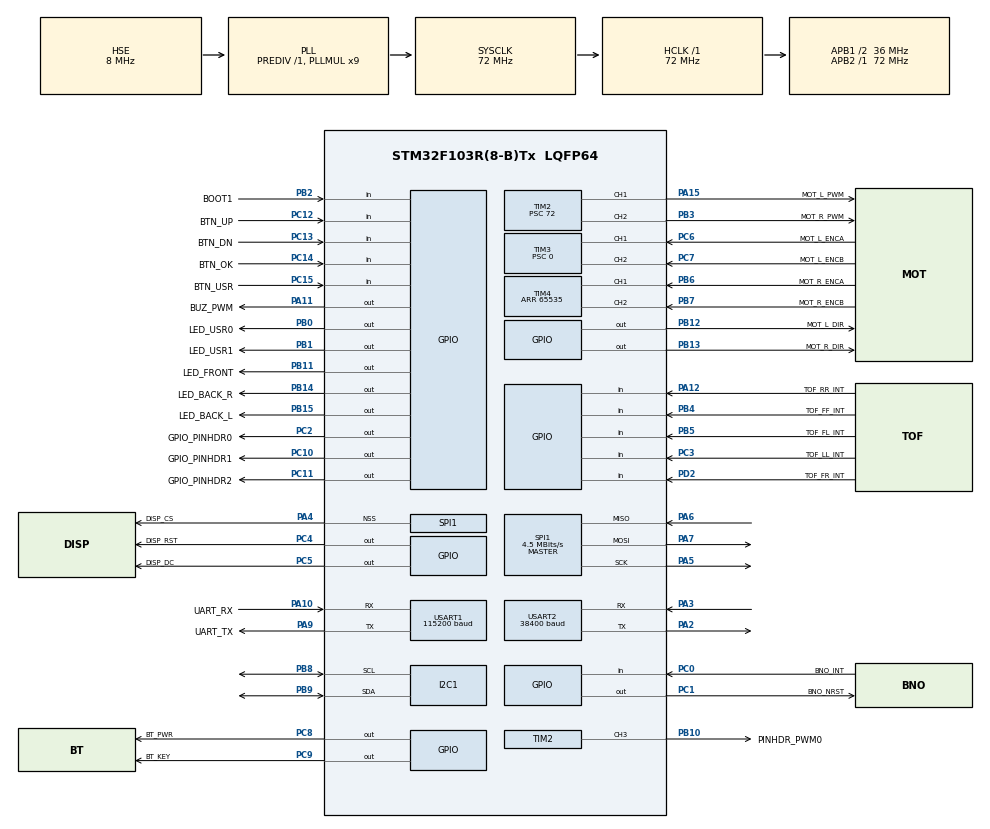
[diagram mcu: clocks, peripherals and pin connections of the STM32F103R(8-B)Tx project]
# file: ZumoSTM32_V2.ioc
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Dma.Request0=SPI1_TX
Dma.SPI1_TX.0.Direction=DMA_MEMORY_TO_PERIPH
Dma.SPI1_TX.0.Instance=DMA1_Channel3
Dma.SPI1_TX.0.MemDataAlignment=DMA_MDATAALIGN_BYTE
Dma.SPI1_TX.0.MemInc=DMA_MINC_ENABLE
Dma.SPI1_TX.0.Mode=DMA_NORMAL
Dma.SPI1_TX.0.PeriphDataAlignment=DMA_PDATAALIGN_BYTE
Dma.SPI1_TX.0.PeriphInc=DMA_PINC_DISABLE
Dma.SPI1_TX.0.Priority=DMA_PRIORITY_LOW
Mcu.Family=STM32F1
Mcu.Name=STM32F103R(8-B)Tx
Mcu.Package=LQFP64
NVIC.DMA1_Channel3_IRQn=true\:0\:0\:false\:false\:true\:false\:true
NVIC.PriorityGroup=NVIC_PRIORITYGROUP_4
NVIC.TIM3_IRQn=true\:0\:0\:false\:false\:true\:true\:true
NVIC.USART1_IRQn=true\:0\:0\:false\:false\:false\:true\:true
NVIC.USART2_IRQn=true\:0\:0\:false\:false\:false\:true\:true
PA10.GPIO_Label=UART_RX
PA10.Mode=Asynchronous
PA10.Signal=USART1_RX
PA11.GPIO_Label=BUZ_PWM
PA11.Signal=GPIO_Output
PA12.GPIO_Label=TOF_RR_INT
PA12.GPIO_PuPd=GPIO_PULLUP
PA12.Signal=GPIO_Input
PA13.Mode=Serial_Wire
PA13.Signal=SYS_JTMS-SWDIO
PA14.Mode=Serial_Wire
PA14.Signal=SYS_JTCK-SWCLK
PA15.GPIO_Label=MOT_L_PWM
PA15.Signal=S_TIM2_CH1_ETR
PA2.Mode=Asynchronous
PA2.Signal=USART2_TX
PA3.Mode=Asynchronous
PA3.Signal=USART2_RX
PA4.GPIO_Label=DISP_CS
PA4.Mode=NSS_Signal_Hard_Output
PA4.Signal=SPI1_NSS
PA5.Mode=Full_Duplex_Master
PA5.Signal=SPI1_SCK
PA6.Mode=Full_Duplex_Master
PA6.Signal=SPI1_MISO
PA7.Mode=Full_Duplex_Master
PA7.Signal=SPI1_MOSI
PA8.GPIO_Label=PINHDR_PWM1
PA8.Signal=S_TIM1_CH1
PA9.GPIO_Label=UART_TX
PA9.Mode=Asynchronous
PA9.Signal=USART1_TX
PB0.GPIO_Label=LED_USR0
PB0.Signal=GPIO_Output
PB1.GPIO_Label=LED_USR1
PB1.Signal=GPIO_Output
PB10.GPIO_Label=PINHDR_PWM0
PB10.Signal=S_TIM2_CH3
PB11.GPIO_Label=LED_FRONT
PB11.Signal=GPIO_Output
PB12.GPIO_Label=MOT_L_DIR
PB12.Signal=GPIO_Output
PB13.GPIO_Label=MOT_R_DIR
PB13.Signal=GPIO_Output
PB14.GPIO_Label=LED_BACK_R
PB14.Signal=GPIO_Output
PB15.GPIO_Label=LED_BACK_L
PB15.Signal=GPIO_Output
PB2.GPIO_Label=BOOT1
PB2.Signal=GPIO_Input
PB3.GPIO_Label=MOT_R_PWM
PB3.Signal=S_TIM2_CH2
PB4.GPIO_Label=TOF_FF_INT
PB4.GPIO_PuPd=GPIO_PULLUP
PB4.Signal=GPIO_Input
PB5.GPIO_Label=TOF_FL_INT
PB5.GPIO_PuPd=GPIO_PULLUP
PB5.Signal=GPIO_Input
PB6.GPIO_Label=MOT_R_ENCA
PB6.Signal=S_TIM4_CH1
PB7.GPIO_Label=MOT_R_ENCB
PB7.Signal=S_TIM4_CH2
PB8.Mode=I2C
PB8.Signal=I2C1_SCL
PB9.Mode=I2C
PB9.Signal=I2C1_SDA
PC0.GPIO_Label=BNO_INT
PC0.Signal=GPIO_Input
PC1.GPIO_Label=BNO_NRST
PC1.GPIO_ModeDefaultOutputPP=GPIO_MODE_OUTPUT_OD
PC1.PinState=GPIO_PIN_SET
PC1.Signal=GPIO_Output
PC10.GPIO_Label=GPIO_PINHDR1
PC10.Signal=GPIO_Output
PC11.GPIO_Label=GPIO_PINHDR2
PC11.Signal=GPIO_Output
PC12.GPIO_Label=BTN_UP
PC12.GPIO_PuPd=GPIO_PULLUP
PC12.Signal=GPIO_Input
PC13-TAMPER-RTC.GPIO_Label=BTN_DN
PC13-TAMPER-RTC.GPIO_PuPd=GPIO_PULLUP
PC13-TAMPER-RTC.Signal=GPIO_Input
PC14-OSC32_IN.GPIO_Label=BTN_OK
PC14-OSC32_IN.GPIO_PuPd=GPIO_PULLUP
PC14-OSC32_IN.Signal=GPIO_Input
PC15-OSC32_OUT.GPIO_Label=BTN_USR
PC15-OSC32_OUT.GPIO_PuPd=GPIO_PULLUP
PC15-OSC32_OUT.Signal=GPIO_Input
PC2.GPIO_Label=GPIO_PINHDR0
PC2.Signal=GPIO_Output
PC3.GPIO_Label=TOF_LL_INT
PC3.GPIO_PuPd=GPIO_PULLUP
PC3.Signal=GPIO_Input
PC4.GPIO_Label=DISP_RST
PC4.Signal=GPIO_Output
PC5.GPIO_Label=DISP_DC
PC5.Signal=GPIO_Output
PC6.GPIO_Label=MOT_L_ENCA
PC6.Signal=S_TIM3_CH1
PC7.GPIO_Label=MOT_L_ENCB
PC7.Signal=S_TIM3_CH2
PC8.GPIO_Label=BT_PWR
PC8.Signal=GPIO_Output
PC9.GPIO_Label=BT_KEY
PC9.Signal=GPIO_Output
PD0-OSC_IN.Mode=HSE-External-Oscillator
PD0-OSC_IN.Signal=RCC_OSC_IN
PD1-OSC_OUT.Mode=HSE-External-Oscillator
PD1-OSC_OUT.Signal=RCC_OSC_OUT
PD2.GPIO_Label=TOF_FR_INT
PD2.GPIO_PuPd=GPIO_PULLUP
PD2.Signal=GPIO_Input
ProjectManager.HeapSize=0x200
ProjectManager.StackSize=0x400
ProjectManager.TargetToolchain=TrueSTUDIO
RCC.ADCPresc=RCC_ADCPCLK2_DIV8
RCC.AHBFreq_Value=72000000
RCC.APB1CLKDivider=RCC_HCLK_DIV2
RCC.APB1Freq_Value=36000000
RCC.APB1TimFreq_Value=72000000
RCC.APB2Freq_Value=72000000
RCC.APB2TimFreq_Value=72000000
RCC.HCLKFreq_Value=72000000
RCC.PLLMUL=RCC_PLL_MUL9
RCC.PLLSourceVirtual=RCC_PLLSOURCE_HSE
RCC.SYSCLKFreq_VALUE=72000000
RCC.SYSCLKSource=RCC_SYSCLKSOURCE_PLLCLK
RCC.USBFreq_Value=72000000
SH.S_TIM1_CH1.0=TIM1_CH1
SH.S_TIM2_CH1_ETR.0=TIM2_CH1,PWM Generation1 CH1
SH.S_TIM2_CH2.0=TIM2_CH2,PWM Generation2 CH2
SH.S_TIM2_CH3.0=TIM2_CH3,PWM Generation3 CH3
SH.S_TIM3_CH1.0=TIM3_CH1,Encoder_Interface
SH.S_TIM3_CH2.0=TIM3_CH2,Encoder_Interface
SH.S_TIM4_CH1.0=TIM4_CH1,Encoder_Interface
SH.S_TIM4_CH2.0=TIM4_CH2,Encoder_Interface
SPI1.BaudRatePrescaler=SPI_BAUDRATEPRESCALER_16
SPI1.CalculateBaudRate=4.5 MBits/s
SPI1.Direction=SPI_DIRECTION_2LINES
SPI1.Mode=SPI_MODE_MASTER
SPI1.VirtualNSS=VM_NSSHARD
SPI1.VirtualType=VM_MASTER
TIM2.Channel-PWM\ Generation1\ CH1=TIM_CHANNEL_1
TIM2.Channel-PWM\ Generation2\ CH2=TIM_CHANNEL_2
TIM2.Channel-PWM\ Generation3\ CH3=TIM_CHANNEL_3
TIM2.Period=100
TIM2.Prescaler=72
TIM3.EncoderMode=TIM_ENCODERMODE_TI1
TIM3.Period=65535
TIM3.Prescaler=0
TIM3.TIM_MasterOutputTrigger=TIM_TRGO_RESET
TIM4.AutoReloadPreload=TIM_AUTORELOAD_PRELOAD_ENABLE
TIM4.Period=65535
USART1.BaudRate=115200
USART1.VirtualMode=VM_ASYNC
USART2.BaudRate=38400
USART2.VirtualMode=VM_ASYNC
VP_TIM2_VS_ClockSourceINT.Mode=Internal
board=custom

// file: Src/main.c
/* USER CODE BEGIN Header */
/**
  ******************************************************************************
  * @file           : main.c
  * @brief          : Main program body
  ******************************************************************************
  * @attention
  *
  * <h2><center>&copy; Copyright (c) 2019 STMicroelectronics.
  * All rights reserved.</center></h2>
  *
  * This software component is licensed by ST under BSD 3-Clause license,
  * the "License"; You may not use this file except in compliance with the
  * License. You may obtain a copy of the License at:
  *                        opensource.org/licenses/BSD-3-Clause
  *
  ******************************************************************************
  */
/* USER CODE END Header */

#include "main.h"

I2C_HandleTypeDef hi2c1;

SPI_HandleTypeDef hspi1;
DMA_HandleTypeDef hdma_spi1_tx;

TIM_HandleTypeDef htim2;
TIM_HandleTypeDef htim3;
TIM_HandleTypeDef htim4;

UART_HandleTypeDef huart1;
UART_HandleTypeDef huart2;

/* USER CODE BEGIN PV */
void main_user();
/* USER CODE END PV */

void SystemClock_Config(void);
static void MX_GPIO_Init(void);
static void MX_DMA_Init(void);
static void MX_SPI1_Init(void);
static void MX_I2C1_Init(void);
static void MX_USART1_UART_Init(void);
static void MX_TIM2_Init(void);
static void MX_TIM3_Init(void);
static void MX_TIM4_Init(void);
static void MX_USART2_UART_Init(void);

int main(void)
{

  /* MCU Configuration--------------------------------------------------------*/

  /* Reset of all peripherals, Initializes the Flash interface and the Systick. */
  HAL_Init();

  /* Configure the system clock */
  SystemClock_Config();

  /* Initialize all configured peripherals */
  MX_GPIO_Init();
  MX_DMA_Init();
  MX_SPI1_Init();
  MX_I2C1_Init();
  MX_USART1_UART_Init();
  MX_TIM2_Init();
  MX_TIM3_Init();
  MX_TIM4_Init();
  MX_USART2_UART_Init();
  /* USER CODE BEGIN 2 */
  main_user();
  /* USER CODE END 2 */

  /* Infinite loop */
  while (1)
  {

  }
}

void SystemClock_Config(void)
{
  RCC_OscInitTypeDef RCC_OscInitStruct = {0};
  RCC_ClkInitTypeDef RCC_ClkInitStruct = {0};

  /** Initializes the CPU, AHB and APB busses clocks
  */
  RCC_OscInitStruct.OscillatorType = RCC_OSCILLATORTYPE_HSE;
  RCC_OscInitStruct.HSEState = RCC_HSE_ON;
  RCC_OscInitStruct.HSEPredivValue = RCC_HSE_PREDIV_DIV1;
  RCC_OscInitStruct.HSIState = RCC_HSI_ON;
  RCC_OscInitStruct.PLL.PLLState = RCC_PLL_ON;
  RCC_OscInitStruct.PLL.PLLSource = RCC_PLLSOURCE_HSE;
  RCC_OscInitStruct.PLL.PLLMUL = RCC_PLL_MUL9;
  if (HAL_RCC_OscConfig(&RCC_OscInitStruct) != HAL_OK)
  {
    Error_Handler();
  }
  /** Initializes the CPU, AHB and APB busses clocks
  */
  RCC_ClkInitStruct.ClockType = RCC_CLOCKTYPE_HCLK|RCC_CLOCKTYPE_SYSCLK
                              |RCC_CLOCKTYPE_PCLK1|RCC_CLOCKTYPE_PCLK2;
  RCC_ClkInitStruct.SYSCLKSource = RCC_SYSCLKSOURCE_PLLCLK;
  RCC_ClkInitStruct.AHBCLKDivider = RCC_SYSCLK_DIV1;
  RCC_ClkInitStruct.APB1CLKDivider = RCC_HCLK_DIV2;
  RCC_ClkInitStruct.APB2CLKDivider = RCC_HCLK_DIV1;

  if (HAL_RCC_ClockConfig(&RCC_ClkInitStruct, FLASH_LATENCY_2) != HAL_OK)
  {
    Error_Handler();
  }
}

static void MX_I2C1_Init(void)
{

  hi2c1.Instance = I2C1;
  hi2c1.Init.ClockSpeed = 100000;
  hi2c1.Init.DutyCycle = I2C_DUTYCYCLE_2;
  hi2c1.Init.OwnAddress1 = 0;
  hi2c1.Init.AddressingMode = I2C_ADDRESSINGMODE_7BIT;
  hi2c1.Init.DualAddressMode = I2C_DUALADDRESS_DISABLE;
  hi2c1.Init.OwnAddress2 = 0;
  hi2c1.Init.GeneralCallMode = I2C_GENERALCALL_DISABLE;
  hi2c1.Init.NoStretchMode = I2C_NOSTRETCH_DISABLE;
  if (HAL_I2C_Init(&hi2c1) != HAL_OK)
  {
    Error_Handler();
  }

}

static void MX_SPI1_Init(void)
{

  /* SPI1 parameter configuration*/
  hspi1.Instance = SPI1;
  hspi1.Init.Mode = SPI_MODE_MASTER;
  hspi1.Init.Direction = SPI_DIRECTION_2LINES;
  hspi1.Init.DataSize = SPI_DATASIZE_8BIT;
  hspi1.Init.CLKPolarity = SPI_POLARITY_LOW;
  hspi1.Init.CLKPhase = SPI_PHASE_1EDGE;
  hspi1.Init.NSS = SPI_NSS_HARD_OUTPUT;
  hspi1.Init.BaudRatePrescaler = SPI_BAUDRATEPRESCALER_16;
  hspi1.Init.FirstBit = SPI_FIRSTBIT_MSB;
  hspi1.Init.TIMode = SPI_TIMODE_DISABLE;
  hspi1.Init.CRCCalculation = SPI_CRCCALCULATION_DISABLE;
  hspi1.Init.CRCPolynomial = 10;
  if (HAL_SPI_Init(&hspi1) != HAL_OK)
  {
    Error_Handler();
  }

}

static void MX_TIM2_Init(void)
{

  TIM_ClockConfigTypeDef sClockSourceConfig = {0};
  TIM_MasterConfigTypeDef sMasterConfig = {0};
  TIM_OC_InitTypeDef sConfigOC = {0};

  htim2.Instance = TIM2;
  htim2.Init.Prescaler = 72;
  htim2.Init.CounterMode = TIM_COUNTERMODE_UP;
  htim2.Init.Period = 100;
  htim2.Init.ClockDivision = TIM_CLOCKDIVISION_DIV1;
  htim2.Init.AutoReloadPreload = TIM_AUTORELOAD_PRELOAD_DISABLE;
  if (HAL_TIM_Base_Init(&htim2) != HAL_OK)
  {
    Error_Handler();
  }
  sClockSourceConfig.ClockSource = TIM_CLOCKSOURCE_INTERNAL;
  if (HAL_TIM_ConfigClockSource(&htim2, &sClockSourceConfig) != HAL_OK)
  {
    Error_Handler();
  }
  if (HAL_TIM_PWM_Init(&htim2) != HAL_OK)
  {
    Error_Handler();
  }
  sMasterConfig.MasterOutputTrigger = TIM_TRGO_RESET;
  sMasterConfig.MasterSlaveMode = TIM_MASTERSLAVEMODE_DISABLE;
  if (HAL_TIMEx_MasterConfigSynchronization(&htim2, &sMasterConfig) != HAL_OK)
  {
    Error_Handler();
  }
  sConfigOC.OCMode = TIM_OCMODE_PWM1;
  sConfigOC.Pulse = 0;
  sConfigOC.OCPolarity = TIM_OCPOLARITY_HIGH;
  sConfigOC.OCFastMode = TIM_OCFAST_DISABLE;
  if (HAL_TIM_PWM_ConfigChannel(&htim2, &sConfigOC, TIM_CHANNEL_1) != HAL_OK)
  {
    Error_Handler();
  }
  if (HAL_TIM_PWM_ConfigChannel(&htim2, &sConfigOC, TIM_CHANNEL_2) != HAL_OK)
  {
    Error_Handler();
  }
  if (HAL_TIM_PWM_ConfigChannel(&htim2, &sConfigOC, TIM_CHANNEL_3) != HAL_OK)
  {
    Error_Handler();
  }
  HAL_TIM_MspPostInit(&htim2);

}

static void MX_TIM3_Init(void)
{

  TIM_Encoder_InitTypeDef sConfig = {0};
  TIM_MasterConfigTypeDef sMasterConfig = {0};

  htim3.Instance = TIM3;
  htim3.Init.Prescaler = 0;
  htim3.Init.CounterMode = TIM_COUNTERMODE_UP;
  htim3.Init.Period = 65535;
  htim3.Init.ClockDivision = TIM_CLOCKDIVISION_DIV1;
  htim3.Init.AutoReloadPreload = TIM_AUTORELOAD_PRELOAD_DISABLE;
  sConfig.EncoderMode = TIM_ENCODERMODE_TI1;
  sConfig.IC1Polarity = TIM_ICPOLARITY_RISING;
  sConfig.IC1Selection = TIM_ICSELECTION_DIRECTTI;
  sConfig.IC1Prescaler = TIM_ICPSC_DIV1;
  sConfig.IC1Filter = 0;
  sConfig.IC2Polarity = TIM_ICPOLARITY_RISING;
  sConfig.IC2Selection = TIM_ICSELECTION_DIRECTTI;
  sConfig.IC2Prescaler = TIM_ICPSC_DIV1;
  sConfig.IC2Filter = 0;
  if (HAL_TIM_Encoder_Init(&htim3, &sConfig) != HAL_OK)
  {
    Error_Handler();
  }
  sMasterConfig.MasterOutputTrigger = TIM_TRGO_RESET;
  sMasterConfig.MasterSlaveMode = TIM_MASTERSLAVEMODE_DISABLE;
  if (HAL_TIMEx_MasterConfigSynchronization(&htim3, &sMasterConfig) != HAL_OK)
  {
    Error_Handler();
  }

}

static void MX_TIM4_Init(void)
{

  TIM_Encoder_InitTypeDef sConfig = {0};
  TIM_MasterConfigTypeDef sMasterConfig = {0};

  htim4.Instance = TIM4;
  htim4.Init.Prescaler = 0;
  htim4.Init.CounterMode = TIM_COUNTERMODE_UP;
  htim4.Init.Period = 65535;
  htim4.Init.ClockDivision = TIM_CLOCKDIVISION_DIV1;
  htim4.Init.AutoReloadPreload = TIM_AUTORELOAD_PRELOAD_ENABLE;
  sConfig.EncoderMode = TIM_ENCODERMODE_TI1;
  sConfig.IC1Polarity = TIM_ICPOLARITY_RISING;
  sConfig.IC1Selection = TIM_ICSELECTION_DIRECTTI;
  sConfig.IC1Prescaler = TIM_ICPSC_DIV1;
  sConfig.IC1Filter = 0;
  sConfig.IC2Polarity = TIM_ICPOLARITY_RISING;
  sConfig.IC2Selection = TIM_ICSELECTION_DIRECTTI;
  sConfig.IC2Prescaler = TIM_ICPSC_DIV1;
  sConfig.IC2Filter = 0;
  if (HAL_TIM_Encoder_Init(&htim4, &sConfig) != HAL_OK)
  {
    Error_Handler();
  }
  sMasterConfig.MasterOutputTrigger = TIM_TRGO_RESET;
  sMasterConfig.MasterSlaveMode = TIM_MASTERSLAVEMODE_DISABLE;
  if (HAL_TIMEx_MasterConfigSynchronization(&htim4, &sMasterConfig) != HAL_OK)
  {
    Error_Handler();
  }

}

static void MX_USART1_UART_Init(void)
{

  huart1.Instance = USART1;
  huart1.Init.BaudRate = 115200;
  huart1.Init.WordLength = UART_WORDLENGTH_8B;
  huart1.Init.StopBits = UART_STOPBITS_1;
  huart1.Init.Parity = UART_PARITY_NONE;
  huart1.Init.Mode = UART_MODE_TX_RX;
  huart1.Init.HwFlowCtl = UART_HWCONTROL_NONE;
  huart1.Init.OverSampling = UART_OVERSAMPLING_16;
  if (HAL_UART_Init(&huart1) != HAL_OK)
  {
    Error_Handler();
  }

}

static void MX_USART2_UART_Init(void)
{

  huart2.Instance = USART2;
  huart2.Init.BaudRate = 38400;
  huart2.Init.WordLength = UART_WORDLENGTH_8B;
  huart2.Init.StopBits = UART_STOPBITS_1;
  huart2.Init.Parity = UART_PARITY_NONE;
  huart2.Init.Mode = UART_MODE_TX_RX;
  huart2.Init.HwFlowCtl = UART_HWCONTROL_NONE;
  huart2.Init.OverSampling = UART_OVERSAMPLING_16;
  if (HAL_UART_Init(&huart2) != HAL_OK)
  {
    Error_Handler();
  }

}

static void MX_DMA_Init(void)
{

  /* DMA controller clock enable */
  __HAL_RCC_DMA1_CLK_ENABLE();

  /* DMA interrupt init */
  /* DMA1_Channel3_IRQn interrupt configuration */
  HAL_NVIC_SetPriority(DMA1_Channel3_IRQn, 0, 0);
  HAL_NVIC_EnableIRQ(DMA1_Channel3_IRQn);

}

static void MX_GPIO_Init(void)
{
  GPIO_InitTypeDef GPIO_InitStruct = {0};

  /* GPIO Ports Clock Enable */
  __HAL_RCC_GPIOC_CLK_ENABLE();
  __HAL_RCC_GPIOD_CLK_ENABLE();
  __HAL_RCC_GPIOA_CLK_ENABLE();
  __HAL_RCC_GPIOB_CLK_ENABLE();

  /*Configure GPIO pin Output Level */
  HAL_GPIO_WritePin(BNO_NRST_GPIO_Port, BNO_NRST_Pin, GPIO_PIN_SET);

  /*Configure GPIO pin Output Level */
  HAL_GPIO_WritePin(GPIOC, GPIO_PINHDR0_Pin|DISP_RST_Pin|DISP_DC_Pin|BT_PWR_Pin
                          |BT_KEY_Pin|GPIO_PINHDR1_Pin|GPIO_PINHDR2_Pin, GPIO_PIN_RESET);

  /*Configure GPIO pin Output Level */
  HAL_GPIO_WritePin(GPIOB, LED_USR0_Pin|LED_USR1_Pin|LED_FRONT_Pin|MOT_L_DIR_Pin
                          |MOT_R_DIR_Pin|LED_BACK_R_Pin|LED_BACK_L_Pin, GPIO_PIN_RESET);

  /*Configure GPIO pin Output Level */
  HAL_GPIO_WritePin(BUZ_PWM_GPIO_Port, BUZ_PWM_Pin, GPIO_PIN_RESET);

  /*Configure GPIO pins : BTN_DN_Pin BTN_OK_Pin BTN_USR_Pin TOF_LL_INT_Pin
                           BTN_UP_Pin */
  GPIO_InitStruct.Pin = BTN_DN_Pin|BTN_OK_Pin|BTN_USR_Pin|TOF_LL_INT_Pin
                          |BTN_UP_Pin;
  GPIO_InitStruct.Mode = GPIO_MODE_INPUT;
  GPIO_InitStruct.Pull = GPIO_PULLUP;
  HAL_GPIO_Init(GPIOC, &GPIO_InitStruct);

  /*Configure GPIO pin : BNO_INT_Pin */
  GPIO_InitStruct.Pin = BNO_INT_Pin;
  GPIO_InitStruct.Mode = GPIO_MODE_INPUT;
  GPIO_InitStruct.Pull = GPIO_NOPULL;
  HAL_GPIO_Init(BNO_INT_GPIO_Port, &GPIO_InitStruct);

  /*Configure GPIO pin : BNO_NRST_Pin */
  GPIO_InitStruct.Pin = BNO_NRST_Pin;
  GPIO_InitStruct.Mode = GPIO_MODE_OUTPUT_OD;
  GPIO_InitStruct.Pull = GPIO_NOPULL;
  GPIO_InitStruct.Speed = GPIO_SPEED_FREQ_LOW;
  HAL_GPIO_Init(BNO_NRST_GPIO_Port, &GPIO_InitStruct);

  /*Configure GPIO pins : PCPin DISP_RST_Pin DISP_DC_Pin BT_PWR_Pin
                           BT_KEY_Pin PCPin PCPin */
  GPIO_InitStruct.Pin = GPIO_PINHDR0_Pin|DISP_RST_Pin|DISP_DC_Pin|BT_PWR_Pin
                          |BT_KEY_Pin|GPIO_PINHDR1_Pin|GPIO_PINHDR2_Pin;
  GPIO_InitStruct.Mode = GPIO_MODE_OUTPUT_PP;
  GPIO_InitStruct.Pull = GPIO_NOPULL;
  GPIO_InitStruct.Speed = GPIO_SPEED_FREQ_LOW;
  HAL_GPIO_Init(GPIOC, &GPIO_InitStruct);

  /*Configure GPIO pins : LED_USR0_Pin LED_USR1_Pin LED_FRONT_Pin MOT_L_DIR_Pin
                           MOT_R_DIR_Pin LED_BACK_R_Pin LED_BACK_L_Pin */
  GPIO_InitStruct.Pin = LED_USR0_Pin|LED_USR1_Pin|LED_FRONT_Pin|MOT_L_DIR_Pin
                          |MOT_R_DIR_Pin|LED_BACK_R_Pin|LED_BACK_L_Pin;
  GPIO_InitStruct.Mode = GPIO_MODE_OUTPUT_PP;
  GPIO_InitStruct.Pull = GPIO_NOPULL;
  GPIO_InitStruct.Speed = GPIO_SPEED_FREQ_LOW;
  HAL_GPIO_Init(GPIOB, &GPIO_InitStruct);

  /*Configure GPIO pin : BOOT1_Pin */
  GPIO_InitStruct.Pin = BOOT1_Pin;
  GPIO_InitStruct.Mode = GPIO_MODE_INPUT;
  GPIO_InitStruct.Pull = GPIO_NOPULL;
  HAL_GPIO_Init(BOOT1_GPIO_Port, &GPIO_InitStruct);

  /*Configure GPIO pin : PINHDR_PWM1_Pin */
  GPIO_InitStruct.Pin = PINHDR_PWM1_Pin;
  GPIO_InitStruct.Mode = GPIO_MODE_AF_PP;
  GPIO_InitStruct.Speed = GPIO_SPEED_FREQ_LOW;
  HAL_GPIO_Init(PINHDR_PWM1_GPIO_Port, &GPIO_InitStruct);

  /*Configure GPIO pin : BUZ_PWM_Pin */
  GPIO_InitStruct.Pin = BUZ_PWM_Pin;
  GPIO_InitStruct.Mode = GPIO_MODE_OUTPUT_PP;
  GPIO_InitStruct.Pull = GPIO_NOPULL;
  GPIO_InitStruct.Speed = GPIO_SPEED_FREQ_LOW;
  HAL_GPIO_Init(BUZ_PWM_GPIO_Port, &GPIO_InitStruct);

  /*Configure GPIO pin : TOF_RR_INT_Pin */
  GPIO_InitStruct.Pin = TOF_RR_INT_Pin;
  GPIO_InitStruct.Mode = GPIO_MODE_INPUT;
  GPIO_InitStruct.Pull = GPIO_PULLUP;
  HAL_GPIO_Init(TOF_RR_INT_GPIO_Port, &GPIO_InitStruct);

  /*Configure GPIO pin : TOF_FR_INT_Pin */
  GPIO_InitStruct.Pin = TOF_FR_INT_Pin;
  GPIO_InitStruct.Mode = GPIO_MODE_INPUT;
  GPIO_InitStruct.Pull = GPIO_PULLUP;
  HAL_GPIO_Init(TOF_FR_INT_GPIO_Port, &GPIO_InitStruct);

  /*Configure GPIO pins : TOF_FF_INT_Pin TOF_FL_INT_Pin */
  GPIO_InitStruct.Pin = TOF_FF_INT_Pin|TOF_FL_INT_Pin;
  GPIO_InitStruct.Mode = GPIO_MODE_INPUT;
  GPIO_InitStruct.Pull = GPIO_PULLUP;
  HAL_GPIO_Init(GPIOB, &GPIO_InitStruct);

}

void Error_Handler(void)
{
  /* USER CODE BEGIN Error_Handler_Debug */
  /* User can add his own implementation to report the HAL error return state */
	while(1)
	{
		HAL_GPIO_WritePin(LED_USR0_GPIO_Port, LED_USR1_Pin,GPIO_PIN_SET);
		HAL_Delay(100);
		HAL_GPIO_WritePin(LED_USR0_GPIO_Port, LED_USR1_Pin,GPIO_PIN_RESET);
		HAL_Delay(200);
		HAL_GPIO_WritePin(LED_USR0_GPIO_Port, LED_USR1_Pin,GPIO_PIN_SET);
		HAL_Delay(100);
		HAL_GPIO_WritePin(LED_USR0_GPIO_Port, LED_USR1_Pin,GPIO_PIN_RESET);
		HAL_Delay(200);
		HAL_GPIO_WritePin(LED_USR0_GPIO_Port, LED_USR1_Pin,GPIO_PIN_SET);
		HAL_Delay(100);
		HAL_GPIO_WritePin(LED_USR0_GPIO_Port, LED_USR1_Pin,GPIO_PIN_RESET);
		HAL_Delay(200);

		HAL_GPIO_WritePin(LED_USR0_GPIO_Port, LED_USR1_Pin,GPIO_PIN_SET);
		HAL_Delay(200);
		HAL_GPIO_WritePin(LED_USR0_GPIO_Port, LED_USR1_Pin,GPIO_PIN_RESET);
		HAL_Delay(200);
		HAL_GPIO_WritePin(LED_USR0_GPIO_Port, LED_USR1_Pin,GPIO_PIN_SET);
		HAL_Delay(200);
		HAL_GPIO_WritePin(LED_USR0_GPIO_Port, LED_USR1_Pin,GPIO_PIN_RESET);
		HAL_Delay(200);
		HAL_GPIO_WritePin(LED_USR0_GPIO_Port, LED_USR1_Pin,GPIO_PIN_SET);
		HAL_Delay(200);
		HAL_GPIO_WritePin(LED_USR0_GPIO_Port, LED_USR1_Pin,GPIO_PIN_RESET);
		HAL_Delay(200);

		HAL_GPIO_WritePin(LED_USR0_GPIO_Port, LED_USR1_Pin,GPIO_PIN_SET);
		HAL_Delay(100);
		HAL_GPIO_WritePin(LED_USR0_GPIO_Port, LED_USR1_Pin,GPIO_PIN_RESET);
		HAL_Delay(200);
		HAL_GPIO_WritePin(LED_USR0_GPIO_Port, LED_USR1_Pin,GPIO_PIN_SET);
		HAL_Delay(100);
		HAL_GPIO_WritePin(LED_USR0_GPIO_Port, LED_USR1_Pin,GPIO_PIN_RESET);
		HAL_Delay(200);
		HAL_GPIO_WritePin(LED_USR0_GPIO_Port, LED_USR1_Pin,GPIO_PIN_SET);
		HAL_Delay(100);
		HAL_GPIO_WritePin(LED_USR0_GPIO_Port, LED_USR1_Pin,GPIO_PIN_RESET);
		HAL_Delay(500);

	}

  /* USER CODE END Error_Handler_Debug */
}

/************************ (C) COPYRIGHT STMicroelectronics *****END OF FILE****/
